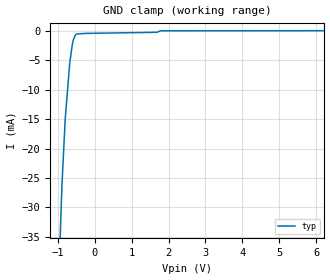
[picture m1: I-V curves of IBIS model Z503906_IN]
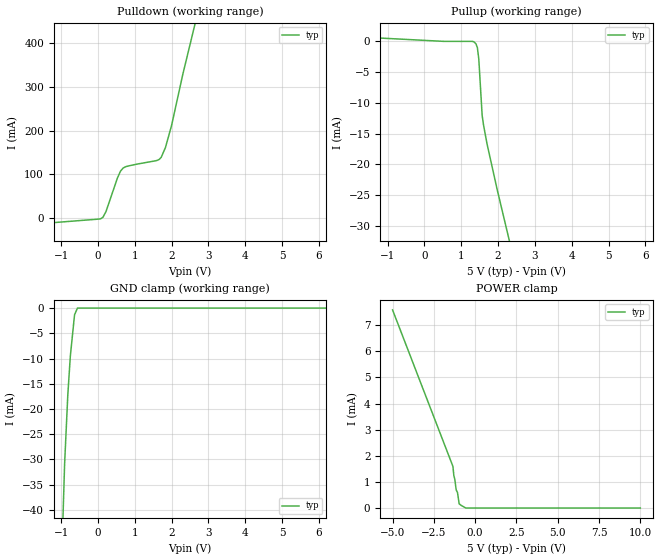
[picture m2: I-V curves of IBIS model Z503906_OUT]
| YOU ARE ONLY AUTHORIZED TO USE THIS SOFTWARE
| ACCORDING TO LICENSOR'S LICENSE RESTRICTIONS.
[IBIS Ver] 3.1
[File Name] mc54f132j.ibs
[File Rev] 2.0
[Source] Measured and created by ICX Technology
[Date] Friday 7/14/00 9:08:02 AM
[Copyright]
| (C) COPYRIGHT 1993-2000
| MENTOR GRAPHICS CORPORATION
| ICX STANDARD LIBRARY, ICX PROJECT MODELING,
| ICX CUSTOM MODELING, ICX VENDOR MODEL
| ALL RIGHTS RESERVED.
| THE FOLLOWING ARE TRADEMARKS OR SERVICE MARKS OF
| MENTOR GRAPHICS CORPORATION:ICX (R), ICX STANDARD
| LIBRARY(R), ICX PROJECT MODELING(R), ICX CUSTOM
| MODELING(R), qualityIBIS(TM), MODELVIEWER(TM),
| AND MODELEDITOR(TM)
| ALL COPIES OF SOFTWARE, INCLUDING BUT NOT LIMITED TO
| ANY MODIFICATIONS, ENHANCEMENTS OR DERIVATIVE WORKS,
| MUST CONTAIN ALL MENTOR GRAPHICS CORPORATION'S
| NOTICES AND LEGENDS, INCLUDING THOSE EMBEDDED IN
| SOFTWARE AND THOSE AFFIXED TO SOFTWARE MEDIUM
| AND CONTAINER, AS RECEIVED FROM MENTOR GRAPHICS
| CORPORATION.
|  ZAP Model Builder 2.7
[Component] MC54F132J
[Manufacturer] OnSemiconductor
[Package]
| variable   typ   min   max
R_pkg  .21ohms NA NA
L_pkg  4.543nH NA NA
C_pkg  1.8pF NA NA
[Pin] signal_name  model_name  R_pin  L_pin C_pin
1 A Z503906_IN .22 6.757n 2.434p
2 B Z503906_IN .212 4.757n 1.941p
3 Y Z503906_OUT .204 3.257n 1.448p
4 A Z503906_IN .196 2.257n .955p
5 B Z503906_IN .204 3.257n 1.448p
6 Y Z503906_OUT .212 4.757n 1.941p
7 GND GND .22 6.757n 2.434p
8 Y Z503906_OUT .22 6.757n 2.434p
9 A Z503906_IN .212 4.757n 1.941p
10 B Z503906_IN .204 3.257n 1.448p
11 Y Z503906_OUT .196 2.257n .955p
12 A Z503906_IN .204 3.257n 1.448p
13 B Z503906_IN .212 4.757n 1.941p
14 VCC POWER .22 6.757n 2.434p
| Models and submodels in the file (2): Z503906_IN (Input), Z503906_OUT (Output)
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| (C) COPYRIGHT 1993-2000
| MENTOR GRAPHICS CORPORATION
| ICX STANDARD LIBRARY, ICX PROJECT MODELING,
| ICX CUSTOM MODELING, ICX VENDOR MODEL
| ALL RIGHTS RESERVED.
| THE FOLLOWING ARE TRADEMARKS OR SERVICE MARKS OF
| MENTOR GRAPHICS CORPORATION:ICX (R), ICX STANDARD
| LIBRARY(R), ICX PROJECT MODELING(R), ICX CUSTOM
| MODELING(R), qualityIBIS(TM), MODELVIEWER(TM),
| AND MODELEDITOR(TM)
| ALL COPIES OF SOFTWARE, INCLUDING BUT NOT LIMITED TO
| ANY MODIFICATIONS, ENHANCEMENTS OR DERIVATIVE WORKS,
| MUST CONTAIN ALL MENTOR GRAPHICS CORPORATION'S
| NOTICES AND LEGENDS, INCLUDING THOSE EMBEDDED IN
| SOFTWARE AND THOSE AFFIXED TO SOFTWARE MEDIUM
| AND CONTAINER, AS RECEIVED FROM MENTOR GRAPHICS
| CORPORATION.
| Model Application Version 1.89 2/18/99.
[Model] Z503906_IN
Model_type Input
Vinl = 800.0mV
Vinh = 2.000V
C_comp 4.000pF NA NA
| variable typ   min   max
[Voltage Range] 5.000V NA NA
[GND Clamp Reference] 0.000V NA NA
[POWER Clamp Reference] 5.000V NA NA
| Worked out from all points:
|   GND clamp passes 1 mA (typ) near -0.54 V on its own axis
[GND Clamp]
-5V       -788.7mA   NA         NA
-883.4mV  -26.09mA   NA         NA
-795.9mV  -14.97mA   NA         NA
-673.8mV  -5.508mA   NA         NA
-604.5mV  -2.364mA   NA         NA
-575.3mV  -1.505mA   NA         NA
-522.8mV  -725.3uA   NA         NA
-480.4mV  -520.9uA   NA         NA
-240.2mV  -434.7uA   NA         NA
1.688V    -245.9uA   NA         NA
1.782V    2.347uA    NA         NA
10V       46.32uA    NA         NA
[POWER Clamp]
-5V       0A         NA         NA
10V       0A         NA         NA
| (C) COPYRIGHT 1993-2000
| MENTOR GRAPHICS CORPORATION
| ICX STANDARD LIBRARY, ICX PROJECT MODELING,
| ICX CUSTOM MODELING, ICX VENDOR MODEL
| ALL RIGHTS RESERVED.
| THE FOLLOWING ARE TRADEMARKS OR SERVICE MARKS OF
| MENTOR GRAPHICS CORPORATION:ICX (R), ICX STANDARD
| LIBRARY(R), ICX PROJECT MODELING(R), ICX CUSTOM
| MODELING(R), qualityIBIS(TM), MODELVIEWER(TM),
| AND MODELEDITOR(TM)
| ALL COPIES OF SOFTWARE, INCLUDING BUT NOT LIMITED TO
| ANY MODIFICATIONS, ENHANCEMENTS OR DERIVATIVE WORKS,
| MUST CONTAIN ALL MENTOR GRAPHICS CORPORATION'S
| NOTICES AND LEGENDS, INCLUDING THOSE EMBEDDED IN
| SOFTWARE AND THOSE AFFIXED TO SOFTWARE MEDIUM
| AND CONTAINER, AS RECEIVED FROM MENTOR GRAPHICS
| CORPORATION.
| Model Application Version 1.89 2/18/99.
[Model] Z503906_OUT
Model_type Output
Vref=0.000V
Rref=500.0ohms
Cref=50.00pF
Vmeas=1.500V
C_comp 8.000pF NA NA
| variable typ   min   max
[Voltage Range] 5.000V NA NA
[POWER Clamp Reference] 5.000V NA NA
[Pullup Reference] 5.000V NA NA
[Pulldown Reference] 0.000V NA NA
[GND Clamp Reference] 0.000V NA NA
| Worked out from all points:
|   slope of the pulldown table from 0 to 0.75 V, typ, clamps not added: 6.26 ohm
|   slope of the pullup table from 0 to 0.75 V, typ, clamps not added: 4.53 kohm
|   GND clamp passes 1 mA (typ) near -0.62 V on its own axis
|   POWER clamp passes 1 mA (typ) near -1.21 V on its own axis
[GND Clamp]
-5V       -1.682A    NA         NA
-1.161V   -105.2mA   NA         NA
-1.015V   -56.6mA    NA         NA
-906.4mV  -30.77mA   NA         NA
-820.3mV  -17.2mA    NA         NA
-751.9mV  -9.564mA   NA         NA
-637.5mV  -1.333mA   NA         NA
-557.8mV  0A         NA         NA
10V       0A         NA         NA
[Pulldown]
-5V       -35.05mA   NA         NA
70.23mV   -1.353mA   NA         NA
131mV     1.825mA    NA         NA
214.8mV   14.8mA     NA         NA
527.8mV   92.09mA    NA         NA
683.6mV   114.9mA    NA         NA
1.601V    132.1mA    NA         NA
1.716V    139.2mA    NA         NA
1.831V    161.6mA    NA         NA
1.997V    211.9mA    NA         NA
2.305V    329.9mA    NA         NA
10V       3.003A     NA         NA
[Pullup]
-5V       1.737mA    NA         NA
532.5mV   18.58uA    NA         NA
1.299V    18.58uA    NA         NA
1.343V    -43.63uA   NA         NA
1.402V    -389.9uA   NA         NA
1.44V     -1.012mA   NA         NA
1.478V    -2.856mA   NA         NA
1.569V    -12mA      NA         NA
1.607V    -13.59mA   NA         NA
1.701V    -16.63mA   NA         NA
1.974V    -24mA      NA         NA
10V       -225.8mA   NA         NA
[POWER Clamp]
-5V       7.586mA    NA         NA
-1.346V   1.595mA    NA         NA
-1.288V   1.239mA    NA         NA
-1.23V    1.095mA    NA         NA
-1.147V   689.9uA    NA         NA
-1.069V   595.1uA    NA         NA
-967mV    160.6uA    NA         NA
-850mV    102.4uA    NA         NA
-566.7mV  0A         NA         NA
10V       0A         NA         NA
[Ramp]
| variable typ min max
dV/dt_r 2.033/1.702n NA NA
dV/dt_f 2.033/658.6p NA NA
R_load = 500.0Ohms
